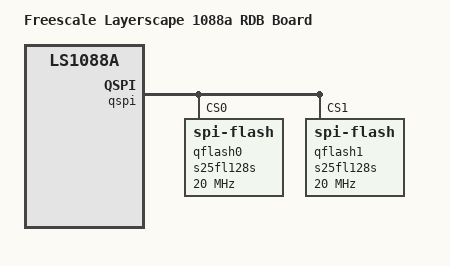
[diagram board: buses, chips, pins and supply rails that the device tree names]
/*
 * Freescale ls1088a QDS board device tree source
 *
 * Copyright 2016 Freescale Semiconductor, Inc.
 *
 * SPDX-License-Identifier:	GPL-2.0+
 */

/dts-v1/;

#include "fsl-ls1088a.dtsi"

/ {
	model = "Freescale Layerscape 1088a RDB Board";
	compatible = "fsl,ls1088a-rdb", "fsl,ls1088a";
	aliases {
		duart0 = &qspi;
		spi1 = &dspi;
	};
};

&qspi {
	bus-num = <0>;
	status = "okay";

	qflash0: s25fl128s@0 {
		#address-cells = <1>;
		#size-cells = <1>;
		compatible = "spi-flash";
		spi-max-frequency = <20000000>;
		reg = <0>;
	};

	qflash1: s25fl128s@1 {
		#address-cells = <1>;
		#size-cells = <1>;
		compatible = "spi-flash";
		spi-max-frequency = <20000000>;
		reg = <1>;
	};
};
